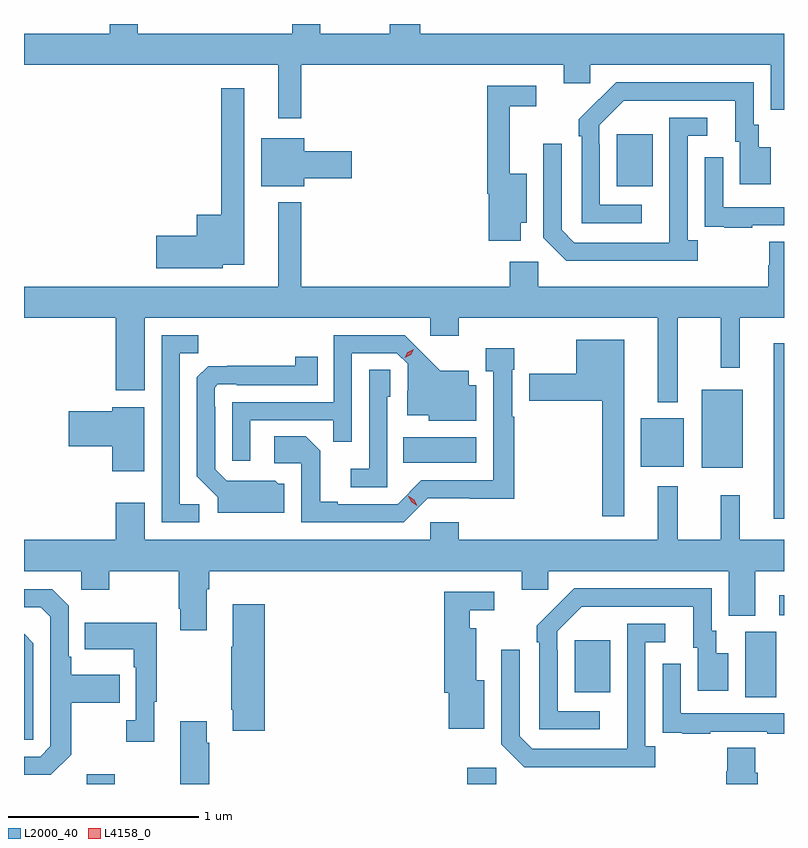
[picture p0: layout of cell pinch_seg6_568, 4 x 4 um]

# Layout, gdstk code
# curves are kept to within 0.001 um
import gdstk
lib = gdstk.Library(unit=1e-6, precision=1e-09)
def R(c, l, rs):  # rectangles x0, y0, x1, y1
    for r in rs: c.add(gdstk.rectangle(r[:2], r[2:], *l))
def P(c, l, *ps):  # polygons
    for p in ps: c.add(gdstk.Polygon(p, *l))
L2000_40 = (2000, 40)
L4158_0 = (4158, 0)

pinch_seg6_568 = lib.new_cell('pinch_seg6_568')
R(pinch_seg6_568, L2000_40, [(601.679,972.855,601.827,972.907), (603.683,972.855,603.834,972.94), (605.144,973.312,605.308,973.656), (604.247,973.337,604.435,973.612), (605.325,973.743,605.349,973.849), (605.294,974.25,605.349,975.175), (604.916,974.519,605.131,974.929), (604.595,974.525,604.822,974.779), (603.346,974.546,603.73,974.68), (604.469,976.001,604.657,976.276)])
P(pinch_seg6_568, L2000_40, [(602.809,976.64),(604.19,976.64),(604.19,976.542),(604.329,976.542),(604.329,976.64),(605.279,976.64),(605.279,976.405),(605.349,976.405),(605.349,976.804),(603.434,976.804),(603.434,976.855),(603.274,976.855),(603.274,976.804),(602.907,976.804),(602.907,976.855),(602.76,976.855),(602.76,976.804),(601.947,976.804),(601.947,976.855),(601.799,976.855),(601.799,976.804),(601.349,976.804),(601.349,976.64),(602.687,976.64),(602.687,976.359),(602.809,976.359)],
  [(604.6,975.903),(604.38,975.903),(604.38,976.223),(604.377,976.223),(604.377,976.323),(604.506,976.452),(605.093,976.452),(605.093,976.236),(605.117,976.236),(605.117,976.011),(605.278,976.011),(605.278,976.207),(605.215,976.207),(605.215,976.326),(605.19,976.326),(605.19,976.548),(604.466,976.548),(604.269,976.353),(604.269,976.265),(604.284,976.265),(604.284,975.807),(604.6,975.807)],
  [(603.964,975.809),(603.994,975.809),(603.994,976.066),(603.905,976.066),(603.905,976.422),(604.045,976.422),(604.045,976.53),(603.787,976.53),(603.787,975.962),(603.794,975.962),(603.794,975.714),(603.964,975.714)],
  [(602.394,975.587),(602.509,975.587),(602.509,976.516),(602.388,976.516),(602.388,975.85),(602.258,975.85),(602.258,975.74),(602.046,975.74),(602.046,975.569),(602.394,975.569)],
  [(604.894,975.718),(604.842,975.718),(604.842,976.266),(604.945,976.266),(604.945,976.362),(604.746,976.362),(604.745,975.705),(604.245,975.705),(604.179,975.771),(604.179,976.225),(604.083,976.225),(604.083,975.729),(604.204,975.608),(604.894,975.608)],
  [(602.824,976.043),(603.073,976.043),(603.073,976.185),(602.824,976.185),(602.824,976.255),(602.597,976.255),(602.597,976.001),(602.824,976.001)],
  [(605.183,975.795),(605.349,975.795),(605.349,975.891),(605.028,975.891),(605.028,976.153),(604.932,976.153),(604.932,975.898),(604.933,975.898),(604.933,975.789),(605.035,975.789),(605.035,975.783),(605.183,975.783)],
  [(604.789,975.308),(605.017,975.308),(605.017,975.045),(605.116,975.045),(605.116,975.308),(605.349,975.308),(605.349,975.71),(605.272,975.71),(605.272,975.585),(605.267,975.585),(605.267,975.472),(604.056,975.472),(604.056,975.604),(603.905,975.604),(603.905,975.472),(602.809,975.472),(602.809,975.916),(602.687,975.916),(602.687,975.472),(601.349,975.472),(601.349,975.308),(601.832,975.308),(601.832,974.928),(601.984,974.928),(601.984,975.308),(603.486,975.308),(603.486,975.213),(603.638,975.213),(603.638,975.308),(604.685,975.308),(604.685,974.864),(604.789,974.864)],
  [(602.272,974.328),(602.169,974.328),(602.169,975.121),(602.265,975.121),(602.265,975.216),(602.073,975.216),(602.073,974.232),(602.272,974.232)],
  [(602.541,974.769),(602.977,974.769),(602.977,974.656),(603.075,974.656),(603.075,975.123),(603.312,975.123),(603.369,975.066),(603.369,974.924),(603.365,974.924),(603.365,974.795),(603.48,974.795),(603.48,974.768),(603.73,974.768),(603.73,974.953),(603.691,974.953),(603.691,975.031),(603.539,975.031),(603.352,975.216),(602.979,975.216),(602.979,974.865),(602.445,974.865),(602.445,974.556),(602.541,974.556)],
  [(604.507,975.193),(604.256,975.193),(604.256,975.015),(604.008,975.015),(604.008,974.873),(604.393,974.873),(604.393,974.265),(604.507,974.265)],
  [(603.474,974.358),(603.929,974.357),(603.929,974.789),(603.919,974.789),(603.919,975.035),(603.929,975.035),(603.929,975.148),(603.779,975.148),(603.779,975.027),(603.818,975.027),(603.818,974.454),(603.441,974.454),(603.315,974.328),(603.001,974.328),(603.001,974.341),(602.907,974.341),(602.907,974.608),(602.831,974.684),(602.667,974.684),(602.667,974.544),(602.808,974.544),(602.808,974.232),(603.348,974.232)],
  [(602.719,974.436),(602.688,974.436),(602.672,974.452),(602.415,974.451),(602.355,974.511),(602.355,974.84),(602.352,974.84),(602.352,974.94),(602.37,974.958),(602.47,974.958),(602.47,974.955),(602.894,974.955),(602.894,975.103),(602.776,975.103),(602.776,975.056),(602.318,975.055),(602.259,974.996),(602.259,974.474),(602.369,974.364),(602.369,974.282),(602.719,974.282)],
  [(603.261,974.892),(603.276,974.892),(603.276,975.035),(603.165,975.035),(603.165,974.515),(603.069,974.515),(603.069,974.418),(603.261,974.418)],
  [(601.981,974.839),(601.814,974.839),(601.814,974.816),(601.584,974.816),(601.584,974.633),(601.814,974.633),(601.814,974.502),(601.981,974.502)],
  [(602.311,973.88),(602.324,973.88),(602.324,973.976),(603.968,973.976),(603.968,973.878),(604.107,973.878),(604.107,973.976),(605.057,973.976),(605.057,973.741),(605.197,973.741),(605.197,973.976),(605.349,973.976),(605.349,974.14),(605.117,974.14),(605.117,974.374),(605.017,974.374),(605.017,974.14),(604.789,974.14),(604.789,974.422),(604.685,974.422),(604.685,974.14),(603.638,974.14),(603.638,974.233),(603.486,974.233),(603.486,974.14),(601.984,974.14),(601.984,974.335),(601.832,974.335),(601.832,974.14),(601.349,974.14),(601.349,973.976),(601.65,973.976),(601.65,973.877),(601.797,973.877),(601.797,973.976),(602.164,973.976),(602.164,973.777),(602.171,973.777),(602.171,973.665),(602.311,973.665)],
  [(604.378,973.239),(604.158,973.239),(604.158,973.559),(604.155,973.559),(604.155,973.659),(604.284,973.788),(604.871,973.788),(604.871,973.572),(604.895,973.572),(604.895,973.347),(605.056,973.347),(605.056,973.543),(604.993,973.543),(604.993,973.662),(604.968,973.662),(604.968,973.884),(604.244,973.884),(604.047,973.689),(604.047,973.601),(604.062,973.601),(604.062,973.143),(604.378,973.143)],
  [(601.597,973.009),(601.597,973.282),(601.853,973.282),(601.853,973.429),(601.597,973.429),(601.597,973.525),(601.584,973.525),(601.584,973.794),(601.497,973.881),(601.349,973.881),(601.349,973.785),(601.437,973.785),(601.488,973.734),(601.488,973.053),(601.434,972.999),(601.349,972.999),(601.349,972.903),(601.491,972.903)],
  [(603.772,973.402),(603.73,973.402),(603.73,973.675),(603.694,973.675),(603.694,973.77),(603.823,973.77),(603.823,973.866),(603.56,973.866),(603.56,973.335),(603.584,973.335),(603.584,973.145),(603.772,973.145)],
  [(602.615,973.801),(602.447,973.801),(602.447,973.577),(602.44,973.577),(602.44,973.246),(602.447,973.246),(602.447,973.134),(602.615,973.134)],
  [(602.035,973.289),(602.047,973.289),(602.047,973.705),(601.669,973.705),(601.669,973.565),(601.926,973.565),(601.926,973.469),(601.938,973.469),(601.938,973.19),(601.887,973.19),(601.887,973.077),(602.035,973.077)],
  [(604.672,973.054),(604.62,973.054),(604.62,973.602),(604.723,973.602),(604.723,973.698),(604.524,973.698),(604.523,973.041),(604.023,973.041),(603.957,973.107),(603.957,973.561),(603.861,973.561),(603.861,973.065),(603.982,972.944),(604.672,972.944)],
  [(601.398,973.596),(601.349,973.645),(601.349,973.089),(601.398,973.089)],
  [(604.961,973.131),(605.261,973.131),(605.261,973.119),(605.349,973.119),(605.349,973.227),(604.806,973.227),(604.806,973.489),(604.71,973.489),(604.71,973.234),(604.711,973.234),(604.711,973.125),(604.813,973.125),(604.813,973.119),(604.961,973.119)],
  [(602.324,973.073),(602.311,973.073),(602.311,973.186),(602.171,973.186),(602.171,972.855),(602.324,972.855)],
  [(605.21,972.914),(605.197,972.914),(605.197,973.046),(605.05,973.046),(605.05,972.921),(605.045,972.921),(605.045,972.855),(605.21,972.855)])
P(pinch_seg6_568, L4158_0, [(603.42,974.319),(603.389,974.338),(603.372,974.37),(603.372,974.371),(603.372,974.371),(603.403,974.352),(603.42,974.319),(603.42,974.319)],
  [(603.353,975.098),(603.353,975.098),(603.37,975.128),(603.401,975.143),(603.401,975.143),(603.401,975.143),(603.384,975.113),(603.353,975.098)])

lib.write_gds('pinch_seg6_568.gds')
